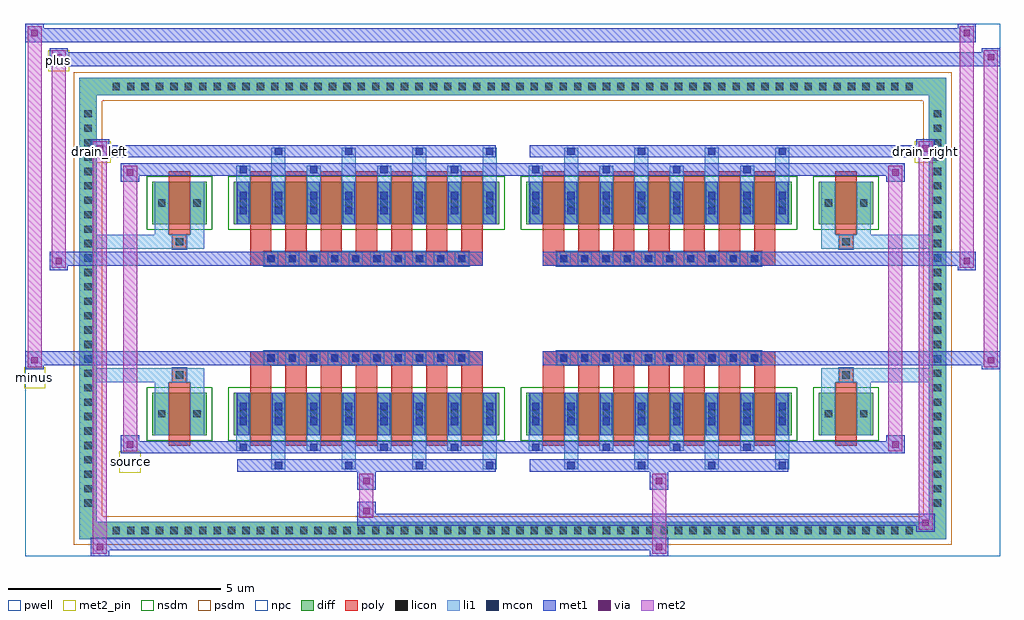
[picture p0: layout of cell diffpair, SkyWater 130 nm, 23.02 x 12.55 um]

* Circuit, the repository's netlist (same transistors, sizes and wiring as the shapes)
* NGSPICE file created from diffpair.ext - technology: sky130A

.subckt diffpair minus drain_right drain_left source plus
X0 drain_left plus source a_n2044_n1088# sky130_fd_pr__nfet_01v8 ad=0.165 pd=1.33 as=0.165 ps=1.33 w=1 l=0.5
X1 drain_right minus source a_n2044_n1088# sky130_fd_pr__nfet_01v8 ad=0.39 pd=2.78 as=0.165 ps=1.33 w=1 l=0.5
X2 a_n2044_n1088# a_n2044_n1088# a_n2044_n1088# a_n2044_n1088# sky130_fd_pr__nfet_01v8 ad=0.39 pd=2.78 as=3.12 ps=22.24 w=1 l=0.5
X3 source minus drain_right a_n2044_n1088# sky130_fd_pr__nfet_01v8 ad=0.165 pd=1.33 as=0.165 ps=1.33 w=1 l=0.5
X4 drain_left plus source a_n2044_n1088# sky130_fd_pr__nfet_01v8 ad=0.39 pd=2.78 as=0.165 ps=1.33 w=1 l=0.5
X5 drain_right minus source a_n2044_n1088# sky130_fd_pr__nfet_01v8 ad=0.165 pd=1.33 as=0.165 ps=1.33 w=1 l=0.5
X6 drain_right minus source a_n2044_n1088# sky130_fd_pr__nfet_01v8 ad=0.165 pd=1.33 as=0.165 ps=1.33 w=1 l=0.5
X7 drain_right minus source a_n2044_n1088# sky130_fd_pr__nfet_01v8 ad=0.165 pd=1.33 as=0.165 ps=1.33 w=1 l=0.5
X8 source plus drain_left a_n2044_n1088# sky130_fd_pr__nfet_01v8 ad=0.165 pd=1.33 as=0.165 ps=1.33 w=1 l=0.5
X9 drain_left plus source a_n2044_n1088# sky130_fd_pr__nfet_01v8 ad=0.165 pd=1.33 as=0.165 ps=1.33 w=1 l=0.5
X10 a_n2044_n1088# a_n2044_n1088# a_n2044_n1088# a_n2044_n1088# sky130_fd_pr__nfet_01v8 ad=0.39 pd=2.78 as=0 ps=0 w=1 l=0.5
X11 drain_right minus source a_n2044_n1088# sky130_fd_pr__nfet_01v8 ad=0.39 pd=2.78 as=0.165 ps=1.33 w=1 l=0.5
X12 drain_left plus source a_n2044_n1088# sky130_fd_pr__nfet_01v8 ad=0.165 pd=1.33 as=0.39 ps=2.78 w=1 l=0.5
X13 source minus drain_right a_n2044_n1088# sky130_fd_pr__nfet_01v8 ad=0.165 pd=1.33 as=0.165 ps=1.33 w=1 l=0.5
X14 source minus drain_right a_n2044_n1088# sky130_fd_pr__nfet_01v8 ad=0.165 pd=1.33 as=0.165 ps=1.33 w=1 l=0.5
X15 drain_left plus source a_n2044_n1088# sky130_fd_pr__nfet_01v8 ad=0.165 pd=1.33 as=0.39 ps=2.78 w=1 l=0.5
X16 drain_right minus source a_n2044_n1088# sky130_fd_pr__nfet_01v8 ad=0.165 pd=1.33 as=0.39 ps=2.78 w=1 l=0.5
X17 source minus drain_right a_n2044_n1088# sky130_fd_pr__nfet_01v8 ad=0.165 pd=1.33 as=0.165 ps=1.33 w=1 l=0.5
X18 source minus drain_right a_n2044_n1088# sky130_fd_pr__nfet_01v8 ad=0.165 pd=1.33 as=0.165 ps=1.33 w=1 l=0.5
X19 source plus drain_left a_n2044_n1088# sky130_fd_pr__nfet_01v8 ad=0.165 pd=1.33 as=0.165 ps=1.33 w=1 l=0.5
X20 a_n2044_n1088# a_n2044_n1088# a_n2044_n1088# a_n2044_n1088# sky130_fd_pr__nfet_01v8 ad=0.39 pd=2.78 as=0 ps=0 w=1 l=0.5
X21 source plus drain_left a_n2044_n1088# sky130_fd_pr__nfet_01v8 ad=0.165 pd=1.33 as=0.165 ps=1.33 w=1 l=0.5
X22 source plus drain_left a_n2044_n1088# sky130_fd_pr__nfet_01v8 ad=0.165 pd=1.33 as=0.165 ps=1.33 w=1 l=0.5
X23 a_n2044_n1088# a_n2044_n1088# a_n2044_n1088# a_n2044_n1088# sky130_fd_pr__nfet_01v8 ad=0.39 pd=2.78 as=0 ps=0 w=1 l=0.5
X24 source minus drain_right a_n2044_n1088# sky130_fd_pr__nfet_01v8 ad=0.165 pd=1.33 as=0.165 ps=1.33 w=1 l=0.5
X25 source plus drain_left a_n2044_n1088# sky130_fd_pr__nfet_01v8 ad=0.165 pd=1.33 as=0.165 ps=1.33 w=1 l=0.5
X26 drain_left plus source a_n2044_n1088# sky130_fd_pr__nfet_01v8 ad=0.165 pd=1.33 as=0.165 ps=1.33 w=1 l=0.5
X27 drain_right minus source a_n2044_n1088# sky130_fd_pr__nfet_01v8 ad=0.165 pd=1.33 as=0.39 ps=2.78 w=1 l=0.5
X28 drain_left plus source a_n2044_n1088# sky130_fd_pr__nfet_01v8 ad=0.39 pd=2.78 as=0.165 ps=1.33 w=1 l=0.5
X29 drain_left plus source a_n2044_n1088# sky130_fd_pr__nfet_01v8 ad=0.165 pd=1.33 as=0.165 ps=1.33 w=1 l=0.5
X30 drain_right minus source a_n2044_n1088# sky130_fd_pr__nfet_01v8 ad=0.165 pd=1.33 as=0.165 ps=1.33 w=1 l=0.5
X31 source plus drain_left a_n2044_n1088# sky130_fd_pr__nfet_01v8 ad=0.165 pd=1.33 as=0.165 ps=1.33 w=1 l=0.5
.ends

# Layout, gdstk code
import gdstk
lib = gdstk.Library(unit=1e-6, precision=5e-09)
def R(c, l, rs):  # rectangles x0, y0, x1, y1
    for r in rs: c.add(gdstk.rectangle(r[:2], r[2:], *l))
def A(c, l, x, y, w, h, nx, ny, dx, dy):  # array of equal rectangles
    R(c, l, [(x+i*dx, y+j*dy, x+i*dx+w, y+j*dy+h) for i in range(nx) for j in range(ny)])
def P(c, l, *ps):  # polygons
    for p in ps: c.add(gdstk.Polygon(p, *l))
pwell = (64, 44)
diff = (65, 20)
poly = (66, 20)
licon = (66, 44)
li1 = (67, 20)
mcon = (67, 44)
met1 = (68, 20)
via = (68, 44)
met2_pin = (69, 16)
met2 = (69, 20)
nsdm = (93, 44)
psdm = (94, 20)
npc = (95, 20)

diffpair = lib.new_cell('diffpair')
R(diffpair, pwell, [(-11.49,-5.84,11.49,6.71), (-8.81,-4.03,-0.01,-0.805), (0.01,-4.03,8.81,-0.805), (-8.81,0.805,-0.01,4.03), (0.01,0.805,8.81,4.03)])
A(diffpair, diff, -9.555, -5.44, 0.41, 0.41, 56, 2, 0.34, 10.47)
A(diffpair, diff, -10.22, -4.795, 0.41, 0.41, 1, 28, 0, 0.34)
A(diffpair, diff, 9.81, -4.795, 0.41, 0.41, 1, 28, 0, 0.34)
R(diffpair, diff, [(-9.555,-5.44,9.555,-5.03), (-10.22,-4.795,-9.81,4.795), (9.81,-4.795,10.22,4.795), (-8.5,-2.985,-7.22,-1.985), (-6.58,-2.985,-0.32,-1.985), (0.32,-2.985,6.58,-1.985), (7.22,-2.985,8.5,-1.985), (-8.5,1.985,-7.22,2.985), (-6.58,1.985,-0.32,2.985), (0.32,1.985,6.58,2.985), (7.22,1.985,8.5,2.985), (-9.555,5.03,9.555,5.44)])
P(diffpair, diff, [(10.22,5.44),(-10.22,5.44),(-10.22,-5.03),(-9.81,-5.03),(-9.81,5.03),(9.81,5.03),(9.81,-5.03),(-9.81,-5.03),(-10.22,-5.03),(-10.22,-5.44),(10.22,-5.44)])
A(diffpair, poly, -6.19, -3.235, 0.5, 1.5, 7, 2, 0.83, 4.97)
A(diffpair, poly, 0.71, -3.235, 0.5, 1.5, 7, 2, 0.83, 4.97)
A(diffpair, poly, -6.19, -1.735, 0.5, 0.4, 7, 2, 0.83, 3.07)
A(diffpair, poly, 0.71, -1.735, 0.5, 0.4, 7, 2, 0.83, 3.07)
A(diffpair, poly, -5.865, -1.335, 0.33, 0.33, 10, 2, 0.5, 2.34)
A(diffpair, poly, 1.035, -1.335, 0.33, 0.33, 10, 2, 0.5, 2.34)
R(diffpair, poly, [(-8.11,-3.235,-7.61,-1.735), (7.61,-3.235,8.11,-1.735), (-8.025,-1.735,-7.695,-1.405), (-8.025,-1.735,-7.695,-1.405), (7.695,-1.735,8.025,-1.405), (7.695,-1.735,8.025,-1.405), (-6.19,-1.335,-0.71,-1.005), (0.71,-1.335,6.19,-1.005), (-6.19,1.005,-0.71,1.335), (0.71,1.005,6.19,1.335), (-8.025,1.405,-7.695,1.735), (-8.025,1.405,-7.695,1.735), (7.695,1.405,8.025,1.735), (7.695,1.405,8.025,1.735), (-8.11,1.735,-7.61,3.235), (7.61,1.735,8.11,3.235)])
A(diffpair, licon, -9.435, -5.32, 0.17, 0.17, 56, 2, 0.34, 10.47)
A(diffpair, licon, -10.1, -4.675, 0.17, 0.17, 1, 28, 0, 0.34)
A(diffpair, licon, 9.93, -4.675, 0.17, 0.17, 1, 28, 0, 0.34)
A(diffpair, licon, -6.44, -2.57, 0.17, 0.17, 8, 2, 0.83, 4.97)
A(diffpair, licon, 0.46, -2.57, 0.17, 0.17, 8, 2, 0.83, 4.97)
A(diffpair, licon, -5.785, -1.255, 0.17, 0.17, 10, 2, 0.5, 2.34)
A(diffpair, licon, 1.115, -1.255, 0.17, 0.17, 10, 2, 0.5, 2.34)
R(diffpair, licon, [(-8.36,-2.57,-8.19,-2.4), (-7.53,-2.57,-7.36,-2.4), (7.36,-2.57,7.53,-2.4), (8.19,-2.57,8.36,-2.4), (-7.945,-1.655,-7.775,-1.485), (7.775,-1.655,7.945,-1.485), (-7.945,1.485,-7.775,1.655), (7.775,1.485,7.945,1.655), (-8.36,2.4,-8.19,2.57), (-7.53,2.4,-7.36,2.57), (7.36,2.4,7.53,2.57), (8.19,2.4,8.36,2.57)])
A(diffpair, li1, -9.515, -5.4, 0.33, 0.33, 56, 2, 0.34, 10.47)
A(diffpair, li1, -10.18, -4.755, 0.33, 0.33, 1, 28, 0, 0.34)
A(diffpair, li1, 9.85, -4.755, 0.33, 0.33, 1, 28, 0, 0.34)
A(diffpair, li1, -5.69, -3.79, 0.33, 0.805, 4, 2, 1.66, 6.775)
A(diffpair, li1, -5.61, -3.79, 0.17, 0.17, 4, 2, 1.66, 7.41)
A(diffpair, li1, 1.21, -3.79, 0.33, 0.805, 4, 2, 1.66, 6.775)
A(diffpair, li1, 1.29, -3.79, 0.17, 0.17, 4, 2, 1.66, 7.41)
A(diffpair, li1, -6.52, -3.36, 0.33, 0.375, 4, 2, 1.66, 6.345)
A(diffpair, li1, -6.44, -3.36, 0.17, 0.17, 4, 2, 1.66, 6.55)
A(diffpair, li1, 0.38, -3.36, 0.33, 0.375, 4, 2, 1.66, 6.345)
A(diffpair, li1, 0.46, -3.36, 0.17, 0.17, 4, 2, 1.66, 6.55)
A(diffpair, li1, -6.52, -2.985, 0.33, 1, 8, 2, 0.83, 4.97)
A(diffpair, li1, 0.38, -2.985, 0.33, 1, 8, 2, 0.83, 4.97)
A(diffpair, li1, -6.44, -2.75, 0.17, 0.17, 8, 2, 0.83, 0.36)
A(diffpair, li1, -6.44, -2.75, 0.17, 0.53, 8, 2, 0.83, 4.97)
A(diffpair, li1, 0.46, -2.75, 0.17, 0.17, 8, 2, 0.83, 0.36)
A(diffpair, li1, 0.46, -2.75, 0.17, 0.53, 8, 2, 0.83, 4.97)
A(diffpair, li1, -6.52, -2.65, 0.33, 0.33, 8, 2, 0.83, 4.97)
A(diffpair, li1, 0.38, -2.65, 0.33, 0.33, 8, 2, 0.83, 4.97)
A(diffpair, li1, -5.865, -1.335, 0.33, 0.33, 10, 2, 0.5, 2.34)
A(diffpair, li1, 1.035, -1.335, 0.33, 0.33, 10, 2, 0.5, 2.34)
A(diffpair, li1, -6.44, 2.22, 0.17, 0.17, 8, 2, 0.83, 0.36)
A(diffpair, li1, 0.46, 2.22, 0.17, 0.17, 8, 2, 0.83, 0.36)
R(diffpair, li1, [(-10.22,-5.44,-9.81,-5.03), (-10.22,-5.44,-9.81,-5.03), (-9.81,-5.44,9.81,-5.03), (9.81,-5.44,10.22,-5.03), (9.81,-5.44,10.22,-5.03), (-10.22,-5.03,-9.81,5.03), (9.81,-5.03,10.22,5.03), (-8.44,-2.985,-8.11,-1.985), (-7.61,-2.985,-7.28,-1.985), (7.28,-2.985,7.61,-1.985), (8.11,-2.985,8.44,-1.985), (-8.44,-2.65,-8.11,-2.32), (-7.61,-2.65,-7.28,-2.32), (7.28,-2.65,7.61,-2.32), (8.11,-2.65,8.44,-2.32), (-8.44,-1.985,-8.11,-1.405), (-7.61,-1.985,-7.28,-1.405), (7.28,-1.985,7.61,-1.405), (8.11,-1.985,8.44,-1.405), (-10.22,-1.735,-8.025,-1.405), (-8.44,-1.735,-8.025,-1.405), (-8.025,-1.735,-7.695,-1.405), (-7.695,-1.735,-7.28,-1.405), (7.28,-1.735,7.695,-1.405), (7.695,-1.735,8.025,-1.405), (7.695,-1.735,10.22,-1.405), (8.025,-1.735,8.44,-1.405), (-10.22,1.405,-8.025,1.735), (-8.44,1.405,-8.025,1.735), (-8.44,1.405,-8.11,1.985), (-8.025,1.405,-7.695,1.735), (-7.695,1.405,-7.28,1.735), (-7.61,1.405,-7.28,1.985), (7.28,1.405,7.695,1.735), (7.28,1.405,7.61,1.985), (7.695,1.405,8.025,1.735), (7.695,1.405,10.22,1.735), (8.025,1.405,8.44,1.735), (8.11,1.405,8.44,1.985), (-8.44,1.985,-8.11,2.985), (-7.61,1.985,-7.28,2.985), (7.28,1.985,7.61,2.985), (8.11,1.985,8.44,2.985), (-8.44,2.32,-8.11,2.65), (-7.61,2.32,-7.28,2.65), (7.28,2.32,7.61,2.65), (8.11,2.32,8.44,2.65), (-10.22,5.03,-9.81,5.44), (-10.22,5.03,-9.81,5.44), (-9.81,5.03,9.81,5.44), (9.81,5.03,10.22,5.44), (9.81,5.03,10.22,5.44)])
A(diffpair, mcon, -5.61, -3.79, 0.17, 0.17, 4, 2, 1.66, 7.41)
A(diffpair, mcon, 1.29, -3.79, 0.17, 0.17, 4, 2, 1.66, 7.41)
A(diffpair, mcon, -6.44, -3.36, 0.17, 0.17, 4, 2, 1.66, 6.55)
A(diffpair, mcon, 0.46, -3.36, 0.17, 0.17, 4, 2, 1.66, 6.55)
A(diffpair, mcon, -6.44, -2.75, 0.17, 0.17, 8, 2, 0.83, 0.36)
A(diffpair, mcon, 0.46, -2.75, 0.17, 0.17, 8, 2, 0.83, 0.36)
A(diffpair, mcon, -5.785, -1.255, 0.17, 0.17, 10, 2, 0.5, 2.34)
A(diffpair, mcon, 1.115, -1.255, 0.17, 0.17, 10, 2, 0.5, 2.34)
A(diffpair, mcon, -6.44, 2.22, 0.17, 0.17, 8, 2, 0.83, 0.36)
A(diffpair, mcon, 0.46, 2.22, 0.17, 0.17, 8, 2, 0.83, 0.36)
A(diffpair, met1, -5.67, -3.85, 0.29, 0.29, 4, 2, 1.66, 7.41)
A(diffpair, met1, 1.23, -3.85, 0.29, 0.29, 4, 2, 1.66, 7.41)
A(diffpair, met1, -6.5, -3.42, 0.29, 0.29, 4, 2, 1.66, 6.55)
A(diffpair, met1, 0.4, -3.42, 0.29, 0.29, 4, 2, 1.66, 6.55)
A(diffpair, met1, -6.5, -2.985, 0.29, 1, 8, 2, 0.83, 4.97)
A(diffpair, met1, 0.4, -2.985, 0.29, 1, 8, 2, 0.83, 4.97)
A(diffpair, met1, -6.5, -2.81, 0.29, 0.29, 8, 2, 0.83, 0.36)
A(diffpair, met1, 0.4, -2.81, 0.29, 0.29, 8, 2, 0.83, 0.36)
A(diffpair, met1, -5.845, -1.315, 0.29, 0.29, 10, 2, 0.5, 2.34)
A(diffpair, met1, 1.055, -1.315, 0.29, 0.29, 10, 2, 0.5, 2.34)
A(diffpair, met1, -6.5, 2.16, 0.29, 0.29, 8, 2, 0.83, 0.36)
A(diffpair, met1, 0.4, 2.16, 0.29, 0.29, 8, 2, 0.83, 0.36)
R(diffpair, met1, [(-9.95,-5.84,-9.52,-5.41), (3.235,-5.84,3.665,-5.41), (-9.95,-5.7,3.665,-5.41), (9.52,-5.27,9.95,-4.84), (-3.665,-5.13,9.95,-4.84), (-3.665,-4.99,-3.235,-4.56), (-3.665,-4.28,-3.235,-3.85), (3.235,-4.28,3.665,-3.85), (-6.5,-3.85,-0.4,-3.56), (0.4,-3.85,6.5,-3.56), (-9.24,-3.42,-8.81,-2.99), (-9.24,-3.42,-6.5,-3.13), (-6.5,-3.42,-0.4,-3.13), (-0.4,-3.42,0.4,-3.13), (0.4,-3.42,6.5,-3.13), (6.5,-3.42,9.24,-3.13), (8.81,-3.42,9.24,-2.99), (-11.49,-1.435,-11.06,-1.005), (11.06,-1.435,11.49,-1.005), (-11.49,-1.335,-0.71,-1.005), (-6.19,-1.335,-0.71,-1.005), (0.71,-1.335,6.19,-1.005), (0.71,-1.335,11.49,-1.005), (-10.92,0.905,-10.49,1.335), (10.49,0.905,10.92,1.335), (-10.92,1.005,-6.19,1.335), (-6.19,1.005,-0.71,1.335), (0.71,1.005,6.19,1.335), (6.19,1.005,10.92,1.335), (-9.24,2.99,-8.81,3.42), (8.81,2.99,9.24,3.42), (-9.24,3.13,-6.5,3.42), (-6.5,3.13,-0.4,3.42), (-0.4,3.13,0.4,3.42), (0.4,3.13,6.5,3.42), (6.5,3.13,9.24,3.42), (-9.95,3.56,-9.52,3.99), (-9.95,3.56,-6.5,3.85), (-6.5,3.56,-0.4,3.85), (0.4,3.56,6.5,3.85), (6.5,3.56,9.95,3.85), (9.52,3.56,9.95,3.99), (-10.92,5.71,-10.49,6.14), (-10.92,5.71,-8.81,6.04), (-8.81,5.71,8.81,6.04), (8.81,5.71,11.49,6.04), (11.06,5.71,11.49,6.14), (-11.49,6.28,-11.06,6.71), (-11.49,6.28,-8.81,6.61), (-8.81,6.28,8.81,6.61), (8.81,6.28,10.92,6.61), (10.49,6.28,10.92,6.71)])
R(diffpair, via, [(-9.81,-5.7,-9.66,-5.55), (3.375,-5.7,3.525,-5.55), (9.66,-5.13,9.81,-4.98), (-3.525,-4.85,-3.375,-4.7), (-3.525,-4.14,-3.375,-3.99), (3.375,-4.14,3.525,-3.99), (-9.1,-3.28,-8.95,-3.13), (8.95,-3.28,9.1,-3.13), (-11.35,-1.295,-11.2,-1.145), (11.2,-1.295,11.35,-1.145), (-10.78,1.045,-10.63,1.195), (10.63,1.045,10.78,1.195), (-9.1,3.13,-8.95,3.28), (8.95,3.13,9.1,3.28), (-9.81,3.7,-9.66,3.85), (9.66,3.7,9.81,3.85), (-10.78,5.85,-10.63,6), (11.2,5.85,11.35,6), (-11.35,6.42,-11.2,6.57), (10.63,6.42,10.78,6.57)])
R(diffpair, met2_pin, [(-9.275,-3.87,-8.775,-3.37), (-11.525,-1.885,-11.025,-1.385), (-9.985,3.44,-9.485,3.94), (9.485,3.44,9.985,3.94), (-10.955,5.59,-10.455,6.09)])
R(diffpair, met2, [(-9.9,-5.79,-9.57,-5.46), (-9.9,-5.79,-9.57,3.94), (3.285,-5.79,3.615,-5.46), (3.285,-5.46,3.615,-4.23), (9.57,-5.22,9.9,-4.89), (9.57,-5.22,9.9,3.94), (-3.615,-4.94,-3.285,-4.61), (-3.615,-4.61,-3.285,-4.23), (-3.615,-4.23,-3.285,-3.9), (3.285,-4.23,3.615,-3.9), (-9.19,-3.37,-8.86,-3.04), (-9.19,-3.37,-8.86,3.37), (8.86,-3.37,9.19,-3.04), (8.86,-3.37,9.19,3.37), (-11.44,-1.385,-11.11,-1.055), (-11.44,-1.385,-11.11,6.66), (11.11,-1.385,11.44,-1.055), (11.11,-1.385,11.44,6.09), (-10.87,0.955,-10.54,1.285), (-10.87,0.955,-10.54,6.09), (10.54,0.955,10.87,1.285), (10.54,0.955,10.87,6.66), (-9.19,3.04,-8.86,3.37), (8.86,3.04,9.19,3.37), (-9.9,3.61,-9.57,3.94), (9.57,3.61,9.9,3.94), (-10.87,5.76,-10.54,6.09), (11.11,5.76,11.44,6.09), (-11.44,6.33,-11.11,6.66), (10.54,6.33,10.87,6.66)])
P(diffpair, met2, [(11.44,-1.385),(11.44,-1.385),(11.44,-1.055),(11.44,-1.055)],
  [(11.44,5.76),(11.44,5.76),(11.44,6.09),(11.44,6.09)],
  [(-11.11,-1.385),(-11.11,-1.385),(-11.11,-1.055),(-11.11,-1.055)],
  [(-11.11,6.33),(-11.11,6.33),(-11.11,6.66),(-11.11,6.66)],
  [(10.87,0.955),(10.87,0.955),(10.87,1.285),(10.87,1.285)],
  [(10.87,6.33),(10.87,6.33),(10.87,6.66),(10.87,6.66)],
  [(-10.54,0.955),(-10.54,0.955),(-10.54,1.285),(-10.54,1.285)],
  [(-10.54,5.76),(-10.54,5.76),(-10.54,6.09),(-10.54,6.09)],
  [(-9.57,-5.79),(-9.57,-5.79),(-9.57,-5.46),(-9.57,-5.46)],
  [(-9.57,3.61),(-9.57,3.61),(-9.57,3.94),(-9.57,3.94)],
  [(9.9,-5.22),(9.9,-5.22),(9.9,-4.89),(9.9,-4.89)],
  [(9.9,3.61),(9.9,3.61),(9.9,3.94),(9.9,3.94)],
  [(-8.86,-3.37),(-8.86,-3.37),(-8.86,-3.04),(-8.86,-3.04)],
  [(-8.86,3.04),(-8.86,3.04),(-8.86,3.37),(-8.86,3.37)],
  [(9.19,-3.37),(9.19,-3.37),(9.19,-3.04),(9.19,-3.04)],
  [(9.19,3.04),(9.19,3.04),(9.19,3.37),(9.19,3.37)])
R(diffpair, nsdm, [(-8.63,-3.115,-7.09,-1.855), (-6.71,-3.115,-0.19,-1.855), (0.19,-3.115,6.71,-1.855), (7.09,-3.115,8.63,-1.855), (-8.63,1.855,-7.09,3.115), (-6.71,1.855,-0.19,3.115), (0.19,1.855,6.71,3.115), (7.09,1.855,8.63,3.115)])
P(diffpair, psdm, [(10.35,5.57),(-10.35,5.57),(-10.35,-4.9),(-9.68,-4.9),(-9.68,4.9),(9.68,4.9),(9.68,-4.9),(-9.68,-4.9),(-10.35,-4.9),(-10.35,-5.57),(10.35,-5.57)])
A(diffpair, npc, -5.885, -1.355, 0.37, 0.37, 10, 2, 0.5, 2.34)
A(diffpair, npc, 1.015, -1.355, 0.37, 0.37, 10, 2, 0.5, 2.34)
R(diffpair, npc, [(-8.045,-1.755,-7.675,-1.385), (7.675,-1.755,8.045,-1.385), (-5.885,-1.355,-5.015,-0.985), (-5.885,-1.355,-5.015,-0.985), (-5.385,-1.355,-4.515,-0.985), (-5.385,-1.355,-4.515,-0.985), (-4.885,-1.355,-4.015,-0.985), (-4.885,-1.355,-4.015,-0.985), (-4.385,-1.355,-3.515,-0.985), (-4.385,-1.355,-3.515,-0.985), (-3.885,-1.355,-3.015,-0.985), (-3.885,-1.355,-3.015,-0.985), (-3.385,-1.355,-2.515,-0.985), (-3.385,-1.355,-2.515,-0.985), (-2.885,-1.355,-2.015,-0.985), (-2.885,-1.355,-2.015,-0.985), (-2.385,-1.355,-1.515,-0.985), (-2.385,-1.355,-1.515,-0.985), (-1.885,-1.355,-1.015,-0.985), (-1.885,-1.355,-1.015,-0.985), (1.015,-1.355,1.885,-0.985), (1.015,-1.355,1.885,-0.985), (1.515,-1.355,2.385,-0.985), (1.515,-1.355,2.385,-0.985), (2.015,-1.355,2.885,-0.985), (2.015,-1.355,2.885,-0.985), (2.515,-1.355,3.385,-0.985), (2.515,-1.355,3.385,-0.985), (3.015,-1.355,3.885,-0.985), (3.015,-1.355,3.885,-0.985), (3.515,-1.355,4.385,-0.985), (3.515,-1.355,4.385,-0.985), (4.015,-1.355,4.885,-0.985), (4.015,-1.355,4.885,-0.985), (4.515,-1.355,5.385,-0.985), (4.515,-1.355,5.385,-0.985), (5.015,-1.355,5.885,-0.985), (5.015,-1.355,5.885,-0.985), (-5.885,0.985,-5.015,1.355), (-5.885,0.985,-5.015,1.355), (-5.385,0.985,-4.515,1.355), (-5.385,0.985,-4.515,1.355), (-4.885,0.985,-4.015,1.355), (-4.885,0.985,-4.015,1.355), (-4.385,0.985,-3.515,1.355), (-4.385,0.985,-3.515,1.355), (-3.885,0.985,-3.015,1.355), (-3.885,0.985,-3.015,1.355), (-3.385,0.985,-2.515,1.355), (-3.385,0.985,-2.515,1.355), (-2.885,0.985,-2.015,1.355), (-2.885,0.985,-2.015,1.355), (-2.385,0.985,-1.515,1.355), (-2.385,0.985,-1.515,1.355), (-1.885,0.985,-1.015,1.355), (-1.885,0.985,-1.015,1.355), (1.015,0.985,1.885,1.355), (1.015,0.985,1.885,1.355), (1.515,0.985,2.385,1.355), (1.515,0.985,2.385,1.355), (2.015,0.985,2.885,1.355), (2.015,0.985,2.885,1.355), (2.515,0.985,3.385,1.355), (2.515,0.985,3.385,1.355), (3.015,0.985,3.885,1.355), (3.015,0.985,3.885,1.355), (3.515,0.985,4.385,1.355), (3.515,0.985,4.385,1.355), (4.015,0.985,4.885,1.355), (4.015,0.985,4.885,1.355), (4.515,0.985,5.385,1.355), (4.515,0.985,5.385,1.355), (5.015,0.985,5.885,1.355), (5.015,0.985,5.885,1.355), (-8.045,1.385,-7.675,1.755), (7.675,1.385,8.045,1.755)])
diffpair.add(gdstk.Label('minus', (-11.275,-1.635), layer=69, texttype=5))
diffpair.add(gdstk.Label('drain_right', (9.735,3.69), layer=69, texttype=5))
diffpair.add(gdstk.Label('drain_left', (-9.735,3.69), layer=69, texttype=5))
diffpair.add(gdstk.Label('source', (-9.025,-3.62), layer=69, texttype=5))
diffpair.add(gdstk.Label('plus', (-10.705,5.84), layer=69, texttype=5))

lib.write_gds('diffpair.gds')
